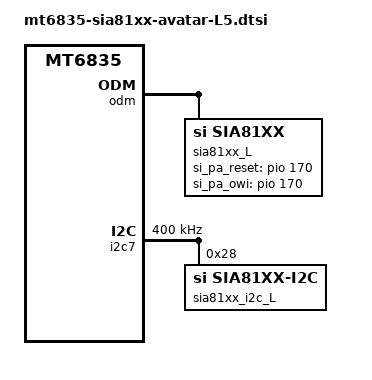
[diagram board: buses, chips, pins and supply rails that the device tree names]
/* Copyright (c) 2018, The Linux Foundation. All rights reserved.
 *
 * This program is free software; you can redistribute it and/or modify
 * it under the terms of the GNU General Public License version 2 and
 * only version 2 as published by the Free Software Foundation.
 *
 * This program is distributed in the hope that it will be useful,
 * but WITHOUT ANY WARRANTY; without even the implied warranty of
 * MERCHANTABILITY or FITNESS FOR A PARTICULAR PURPOSE.  See the
 * GNU General Public License for more details.
 */

&pio {
	sia81xx_gpio_L: sia81xx_gpio_L {
		pins_cmd_dat {
			pinmux = <PINMUX_GPIO170__FUNC_GPIO170>;
			slew-rate = <1>;
			bias-disable;
		};
	};
};

&odm {
	sia81xx_L: sia81xx@L{
		compatible = "si,sia81xx";
		si,si_pa_type = "sia81x9";
		si,si_pa_reset = <&pio 170 0>;
		si,si_pa_owi = <&pio 170 0>;
		pinctrl-names = "si_pa_gpio";
		pinctrl-0 = <&sia81xx_gpio_L>;
		si,si_pa_disable_pin = <0>;
		channel_num = <1>;
		owi_mode = <1>;
	};
};

&i2c7 {
	#address-cells = <1>;
	#size-cells = <0>;
	clock-frequency = <400000>;

	sia81xx_i2c_L: sia81xx_i2c@L {
		compatible = "si,sia81xx-i2c";
		reg = <0x28>;
		si,sipa-dev = <&sia81xx_L>;
	};
};

&sound {
	si,sia81xx-max-num = <1>;
	si,sia81xx-aux-devs = <&sia81xx_L>;
	si,sia81xx-aux-devs-prefix = "SpkrLeft";
};

/* avatar-L5 headset bring up */
&accdet{
	eint_use_ext_res = <1>;
	headset-eint-trig-mode = <2>;
	headset-three-key-threshold = <0 82 170 306>;
};

&speech_usip_mem{
	adsp-phone-call-enh-enable = <0x0>;
};
